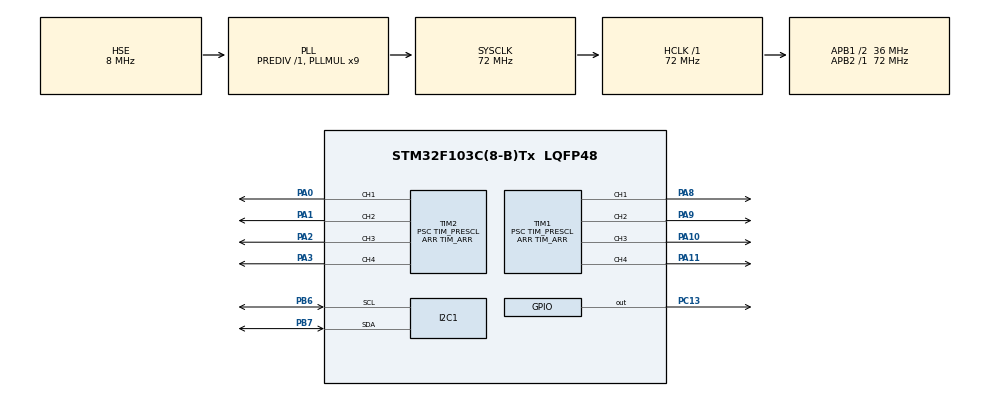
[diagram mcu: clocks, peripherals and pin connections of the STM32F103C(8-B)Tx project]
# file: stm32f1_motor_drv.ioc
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I2C1.NoStretchMode=I2C_NOSTRETCH_DISABLE
I2C1.OwnAddress=0x20
Mcu.Family=STM32F1
Mcu.Name=STM32F103C(8-B)Tx
Mcu.Package=LQFP48
Mcu.UserConstants=RCC_TIM_CLK,72000000;TIM_ARR,((RCC_TIM_CLK / (TIM_PRESCL + 1))/TIM_FREQ) -1;TIM_FREQ,50;TIM_PRESCL,39
NVIC.I2C1_ER_IRQn=true\:0\:0\:false\:false\:true\:true\:true\:true
NVIC.I2C1_EV_IRQn=true\:0\:0\:true\:false\:true\:true\:true\:true
NVIC.PriorityGroup=NVIC_PRIORITYGROUP_4
PA0-WKUP.Signal=S_TIM2_CH1_ETR
PA1.Signal=S_TIM2_CH2
PA10.Signal=S_TIM1_CH3
PA11.Signal=S_TIM1_CH4
PA13.Mode=Serial_Wire
PA13.Signal=SYS_JTMS-SWDIO
PA14.Mode=Serial_Wire
PA14.Signal=SYS_JTCK-SWCLK
PA2.Signal=S_TIM2_CH3
PA3.Signal=S_TIM2_CH4
PA8.Signal=S_TIM1_CH1
PA9.Signal=S_TIM1_CH2
PB6.Mode=I2C
PB6.Signal=I2C1_SCL
PB7.Mode=I2C
PB7.Signal=I2C1_SDA
PC13-TAMPER-RTC.Signal=GPIO_Output
PC14-OSC32_IN.Mode=LSE-External-Oscillator
PC14-OSC32_IN.Signal=RCC_OSC32_IN
PC15-OSC32_OUT.Mode=LSE-External-Oscillator
PC15-OSC32_OUT.Signal=RCC_OSC32_OUT
PD0-OSC_IN.Mode=HSE-External-Oscillator
PD0-OSC_IN.Signal=RCC_OSC_IN
PD1-OSC_OUT.Mode=HSE-External-Oscillator
PD1-OSC_OUT.Signal=RCC_OSC_OUT
ProjectManager.HeapSize=0x200
ProjectManager.StackSize=0x400
ProjectManager.TargetToolchain=Makefile
RCC.AHBFreq_Value=72000000
RCC.APB1CLKDivider=RCC_HCLK_DIV2
RCC.APB1Freq_Value=36000000
RCC.APB1TimFreq_Value=72000000
RCC.APB2Freq_Value=72000000
RCC.APB2TimFreq_Value=72000000
RCC.HCLKFreq_Value=72000000
RCC.PLLMUL=RCC_PLL_MUL9
RCC.PLLSourceVirtual=RCC_PLLSOURCE_HSE
RCC.SYSCLKFreq_VALUE=72000000
RCC.SYSCLKSource=RCC_SYSCLKSOURCE_PLLCLK
RCC.USBFreq_Value=72000000
SH.S_TIM1_CH1.0=TIM1_CH1,PWM Generation1 CH1
SH.S_TIM1_CH2.0=TIM1_CH2,PWM Generation2 CH2
SH.S_TIM1_CH3.0=TIM1_CH3,PWM Generation3 CH3
SH.S_TIM1_CH4.0=TIM1_CH4,PWM Generation4 CH4
SH.S_TIM2_CH1_ETR.0=TIM2_CH1,PWM Generation1 CH1
SH.S_TIM2_CH2.0=TIM2_CH2,PWM Generation2 CH2
SH.S_TIM2_CH3.0=TIM2_CH3,PWM Generation3 CH3
SH.S_TIM2_CH4.0=TIM2_CH4,PWM Generation4 CH4
TIM1.Channel-PWM\ Generation1\ CH1=TIM_CHANNEL_1
TIM1.Channel-PWM\ Generation2\ CH2=TIM_CHANNEL_2
TIM1.Channel-PWM\ Generation3\ CH3=TIM_CHANNEL_3
TIM1.Channel-PWM\ Generation4\ CH4=TIM_CHANNEL_4
TIM1.Period=TIM_ARR
TIM1.Prescaler=TIM_PRESCL
TIM2.Channel-PWM\ Generation1\ CH1=TIM_CHANNEL_1
TIM2.Channel-PWM\ Generation2\ CH2=TIM_CHANNEL_2
TIM2.Channel-PWM\ Generation3\ CH3=TIM_CHANNEL_3
TIM2.Channel-PWM\ Generation4\ CH4=TIM_CHANNEL_4
TIM2.Period=TIM_ARR
TIM2.Prescaler=TIM_PRESCL
VP_TIM1_VS_ClockSourceINT.Mode=Internal
VP_TIM2_VS_ClockSourceINT.Mode=Internal
board=custom

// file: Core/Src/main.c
/* USER CODE BEGIN Header */
/**
  ******************************************************************************
  * @file           : main.c
  * @brief          : Main program body
  ******************************************************************************
  * @attention
  *
  * Copyright (c) 2024 STMicroelectronics.
  * All rights reserved.
  *
  * This software is licensed under terms that can be found in the LICENSE file
  * in the root directory of this software component.
  * If no LICENSE file comes with this software, it is provided AS-IS.
  *
  ******************************************************************************
  */
/* USER CODE END Header */
#include "main.h"
#include "i2c.h"
#include "tim.h"
#include "gpio.h"

/* USER CODE BEGIN Includes */
#include "drv8833.h"
#include "i2c_dev.h"
/* USER CODE END Includes */

void SystemClock_Config(void);

int main(void)
{

  /* MCU Configuration--------------------------------------------------------*/

  /* Reset of all peripherals, Initializes the Flash interface and the Systick. */
  HAL_Init();

  /* Configure the system clock */
  SystemClock_Config();

  /* Initialize all configured peripherals */
  MX_GPIO_Init();
  MX_TIM1_Init();
  MX_I2C1_Init();
  MX_TIM2_Init();
  /* USER CODE BEGIN 2 */
  int i = 0;
  int increment = 1;
  DRV8833_CH_HandleTypeDef drv_lf;
  DRV8833_CH_HandleTypeDef drv_lr;
  DRV8833_CH_HandleTypeDef drv_rf;
  DRV8833_CH_HandleTypeDef drv_rr;
  I2C_Dev_HandleTypeDef i2c_dev_inst;

  drv_lf.tim_handle = &htim1;
  drv_lf.pwm_ch1 = TIM_CHANNEL_1;
  drv_lf.pwm_ch2 = TIM_CHANNEL_2;

  drv_lr.tim_handle = &htim1;
  drv_lr.pwm_ch1 = TIM_CHANNEL_3;
  drv_lr.pwm_ch2 = TIM_CHANNEL_4;

  drv_rf.tim_handle = &htim2;
  drv_rf.pwm_ch1 = TIM_CHANNEL_1;
  drv_rf.pwm_ch2 = TIM_CHANNEL_2;

  drv_rr.tim_handle = &htim2;
  drv_rr.pwm_ch1 = TIM_CHANNEL_3;
  drv_rr.pwm_ch2 = TIM_CHANNEL_4;

  i2c_dev_inst.left_front_drv  = &drv_lf;
  i2c_dev_inst.left_rear_drv   = &drv_lr;
  i2c_dev_inst.right_front_drv = &drv_rf;
  i2c_dev_inst.right_rear_drv  = &drv_rr;
  i2c_dev_inst.hi2c = &hi2c1;

  DRV8833_init(&drv_lf);
  DRV8833_init(&drv_lr);
  DRV8833_init(&drv_rf);
  DRV8833_init(&drv_rr);

  i2c_dev_init(&i2c_dev_inst);

  /* USER CODE END 2 */

  /* Infinite loop */
  /* USER CODE BEGIN WHILE */
  while (1)
  {
    i2c_dev_process();
                        // i += increment;
                        // if(i == 100)
                        //   increment = -1;
                        // else
                        // if(i == -100)
                        //   increment = 1;

                        // DRV8833_set_percent(&drv_lf, i);
                        // HAL_Delay(100);

    /* USER CODE END WHILE */

  }
}

void SystemClock_Config(void)
{
  RCC_OscInitTypeDef RCC_OscInitStruct = {0};
  RCC_ClkInitTypeDef RCC_ClkInitStruct = {0};

  /** Initializes the RCC Oscillators according to the specified parameters
  * in the RCC_OscInitTypeDef structure.
  */
  RCC_OscInitStruct.OscillatorType = RCC_OSCILLATORTYPE_HSE;
  RCC_OscInitStruct.HSEState = RCC_HSE_ON;
  RCC_OscInitStruct.HSEPredivValue = RCC_HSE_PREDIV_DIV1;
  RCC_OscInitStruct.HSIState = RCC_HSI_ON;
  RCC_OscInitStruct.PLL.PLLState = RCC_PLL_ON;
  RCC_OscInitStruct.PLL.PLLSource = RCC_PLLSOURCE_HSE;
  RCC_OscInitStruct.PLL.PLLMUL = RCC_PLL_MUL9;
  if (HAL_RCC_OscConfig(&RCC_OscInitStruct) != HAL_OK)
  {
    Error_Handler();
  }

  /** Initializes the CPU, AHB and APB buses clocks
  */
  RCC_ClkInitStruct.ClockType = RCC_CLOCKTYPE_HCLK|RCC_CLOCKTYPE_SYSCLK
                              |RCC_CLOCKTYPE_PCLK1|RCC_CLOCKTYPE_PCLK2;
  RCC_ClkInitStruct.SYSCLKSource = RCC_SYSCLKSOURCE_PLLCLK;
  RCC_ClkInitStruct.AHBCLKDivider = RCC_SYSCLK_DIV1;
  RCC_ClkInitStruct.APB1CLKDivider = RCC_HCLK_DIV2;
  RCC_ClkInitStruct.APB2CLKDivider = RCC_HCLK_DIV1;

  if (HAL_RCC_ClockConfig(&RCC_ClkInitStruct, FLASH_LATENCY_2) != HAL_OK)
  {
    Error_Handler();
  }
}

void Error_Handler(void)
{
  __disable_irq();
  while (1)
  {
  }
}
